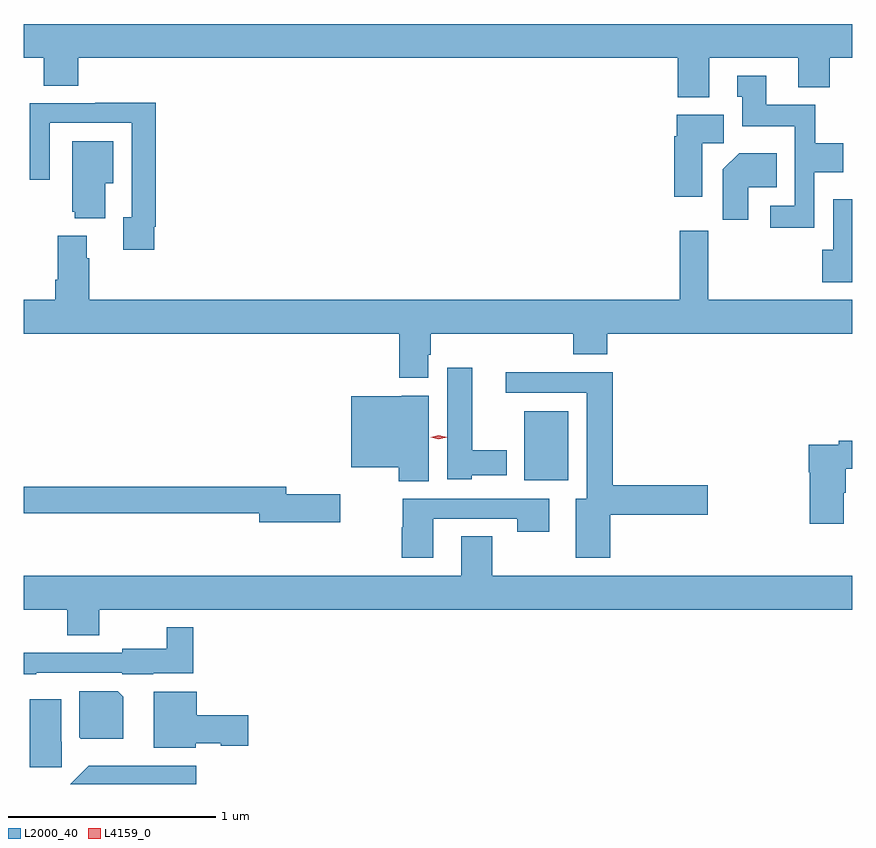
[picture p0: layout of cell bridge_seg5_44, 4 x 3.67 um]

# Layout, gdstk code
import gdstk
lib = gdstk.Library(unit=1e-6, precision=1e-09)
def R(c, l, rs):  # rectangles x0, y0, x1, y1
    for r in rs: c.add(gdstk.rectangle(r[:2], r[2:], *l))
def P(c, l, *ps):  # polygons
    for p in ps: c.add(gdstk.Polygon(p, *l))
L2000_40 = (2000, 40)
L4159_0 = (4159, 0)

bridge_seg5_44 = lib.new_cell('bridge_seg5_44')
R(bridge_seg5_44, L2000_40, [(641.036,838.736,641.248,839.071)])
P(bridge_seg5_44, L2000_40, [(641.929,840.776),(642.359,840.776),(642.359,840.635),(642.512,840.635),(642.512,840.776),(642.62,840.776),(642.62,840.94),(638.62,840.94),(638.62,840.776),(638.717,840.776),(638.717,840.643),(638.882,840.643),(638.882,840.776),(641.777,840.776),(641.777,840.587),(641.929,840.587)],
  [(642.438,840.224),(642.577,840.224),(642.577,840.364),(642.441,840.364),(642.441,840.55),(642.205,840.55),(642.205,840.691),(642.065,840.691),(642.065,840.588),(642.089,840.588),(642.089,840.446),(642.342,840.446),(642.342,840.063),(642.225,840.063),(642.225,839.955),(642.438,839.955)],
  [(639.25,839.962),(639.257,839.962),(639.257,840.56),(638.965,840.56),(638.965,840.558),(638.649,840.558),(638.649,840.189),(638.745,840.189),(638.745,840.462),(639.141,840.462),(639.141,840.006),(639.101,840.006),(639.101,839.85),(639.25,839.85)],
  [(641.896,840.364),(642.001,840.364),(642.001,840.502),(641.774,840.502),(641.774,840.398),(641.762,840.398),(641.762,840.105),(641.896,840.105)],
  [(639.013,840.17),(639.052,840.17),(639.052,840.373),(638.855,840.373),(638.855,840.033),(638.867,840.033),(638.867,840.002),(639.013,840.002)],
  [(642.118,840.152),(642.257,840.152),(642.257,840.316),(642.074,840.316),(641.996,840.238),(641.996,839.994),(642.118,839.994)],
  [(642.62,840.094),(642.528,840.094),(642.528,839.85),(642.476,839.85),(642.476,839.694),(642.62,839.694)],
  [(640.573,839.343),(640.586,839.343),(640.586,839.444),(641.273,839.444),(641.273,839.345),(641.438,839.345),(641.438,839.444),(642.62,839.444),(642.62,839.608),(641.924,839.608),(641.924,839.941),(641.788,839.941),(641.788,839.608),(638.936,839.608),(638.936,839.81),(638.923,839.81),(638.923,839.917),(638.783,839.917),(638.783,839.704),(638.771,839.704),(638.771,839.608),(638.62,839.608),(638.62,839.444),(640.433,839.444),(640.433,839.231),(640.573,839.231)],
  [(640.782,838.76),(640.951,838.76),(640.951,838.882),(640.786,838.882),(640.786,839.281),(640.664,839.281),(640.664,838.742),(640.782,838.742)],
  [(641.452,838.57),(641.923,838.57),(641.923,838.712),(641.465,838.712),(641.465,839.258),(640.947,839.258),(640.947,839.16),(641.339,839.16),(641.339,838.648),(641.285,838.648),(641.285,838.362),(641.452,838.362)],
  [(640.576,839.146),(640.446,839.146),(640.446,839.143),(640.202,839.143),(640.202,838.799),(640.43,838.799),(640.43,838.732),(640.576,838.732)],
  [(642.58,838.677),(642.588,838.677),(642.588,838.792),(642.62,838.792),(642.62,838.928),(642.556,838.928),(642.556,838.908),(642.41,838.908),(642.41,838.775),(642.415,838.775),(642.415,838.527),(642.58,838.527)],
  [(640.147,838.67),(639.886,838.67),(639.886,838.706),(638.62,838.706),(638.62,838.578),(639.758,838.578),(639.758,838.535),(640.147,838.535)],
  [(640.597,838.551),(641.002,838.551),(641.002,838.488),(641.158,838.488),(641.158,838.647),(640.45,838.647),(640.45,838.509),(640.445,838.509),(640.445,838.362),(640.597,838.362)],
  [(638.985,838.112),(642.62,838.112),(642.62,838.276),(640.881,838.276),(640.881,838.466),(640.733,838.466),(640.733,838.276),(638.62,838.276),(638.62,838.112),(638.83,838.112),(638.83,837.988),(638.985,837.988)],
  [(638.679,837.807),(639.096,837.807),(639.096,837.8),(639.246,837.8),(639.246,837.806),(639.437,837.806),(639.437,838.027),(639.309,838.027),(639.309,837.922),(639.096,837.922),(639.096,837.903),(638.679,837.903),(638.679,837.905),(638.62,837.905),(638.62,837.8),(638.679,837.8)],
  [(639.1,837.692),(639.074,837.718),(638.888,837.718),(638.888,837.496),(638.896,837.488),(639.1,837.488)],
  [(639.45,837.467),(639.57,837.467),(639.57,837.455),(639.703,837.455),(639.703,837.602),(639.454,837.602),(639.454,837.716),(639.248,837.716),(639.248,837.446),(639.45,837.446)],
  [(638.804,837.474),(638.8,837.474),(638.8,837.679),(638.648,837.679),(638.648,837.351),(638.804,837.351)],
  [(639.452,837.359),(638.933,837.359),(638.844,837.27),(639.452,837.27)])
P(bridge_seg5_44, L4159_0, [(640.624,838.934),(640.584,838.944),(640.584,838.944),(640.584,838.944),(640.624,838.954),(640.664,838.944),(640.664,838.944),(640.664,838.944)])

lib.write_gds('bridge_seg5_44.gds')
